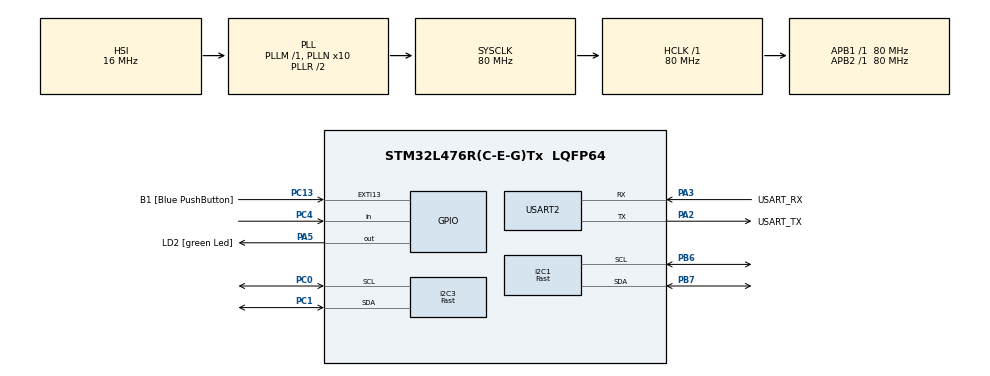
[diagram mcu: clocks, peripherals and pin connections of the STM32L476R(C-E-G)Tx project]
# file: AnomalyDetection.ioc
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EdgeImpulse.fan.1.0.3.MachineLearningCcfanJjCore=true
I2C1.I2C_Speed_Mode=I2C_Fast
I2C1.Timing=0x00702991
I2C3.I2C_Speed_Mode=I2C_Fast
I2C3.Timing=0x00702991
Mcu.Family=STM32L4
Mcu.Name=STM32L476R(C-E-G)Tx
Mcu.Package=LQFP64
NVIC.EXTI15_10_IRQn=true\:0\:0\:false\:false\:true\:true\:true\:true
NVIC.PriorityGroup=NVIC_PRIORITYGROUP_4
PA13\ (JTMS-SWDIO).GPIO_Label=TMS
PA13\ (JTMS-SWDIO).Mode=Serial_Wire
PA13\ (JTMS-SWDIO).Signal=SYS_JTMS-SWDIO
PA14\ (JTCK-SWCLK).GPIO_Label=TCK
PA14\ (JTCK-SWCLK).Mode=Serial_Wire
PA14\ (JTCK-SWCLK).Signal=SYS_JTCK-SWCLK
PA2.GPIO_Label=USART_TX
PA2.GPIO_Mode=GPIO_MODE_AF_PP
PA2.GPIO_PuPd=GPIO_NOPULL
PA2.GPIO_Speed=GPIO_SPEED_FREQ_VERY_HIGH
PA2.Mode=Asynchronous
PA2.Signal=USART2_TX
PA3.GPIO_Label=USART_RX
PA3.GPIO_Mode=GPIO_MODE_AF_PP
PA3.GPIO_PuPd=GPIO_NOPULL
PA3.GPIO_Speed=GPIO_SPEED_FREQ_VERY_HIGH
PA3.Mode=Asynchronous
PA3.Signal=USART2_RX
PA5.GPIO_Label=LD2 [green Led]
PA5.GPIO_ModeDefaultOutputPP=GPIO_MODE_OUTPUT_PP
PA5.GPIO_PuPd=GPIO_NOPULL
PA5.GPIO_Speed=GPIO_SPEED_FREQ_LOW
PA5.Signal=GPIO_Output
PB3\ (JTDO-TRACESWO).GPIO_Label=SWO
PB3\ (JTDO-TRACESWO).Signal=SYS_JTDO-SWO
PB6.Mode=I2C
PB6.Signal=I2C1_SCL
PB7.Mode=I2C
PB7.Signal=I2C1_SDA
PC0.Mode=I2C
PC0.Signal=I2C3_SCL
PC1.Mode=I2C
PC1.Signal=I2C3_SDA
PC13.GPIO_Label=B1 [Blue PushButton]
PC13.GPIO_ModeDefaultEXTI=GPIO_MODE_IT_FALLING
PC13.GPIO_PuPd=GPIO_NOPULL
PC13.Signal=GPXTI13
PC14-OSC32_IN\ (PC14).Mode=LSE-External-Oscillator
PC14-OSC32_IN\ (PC14).Signal=RCC_OSC32_IN
PC15-OSC32_OUT\ (PC15).Mode=LSE-External-Oscillator
PC15-OSC32_OUT\ (PC15).Signal=RCC_OSC32_OUT
PC4.GPIO_PuPd=GPIO_PULLUP
PC4.Signal=GPIO_Input
PH0-OSC_IN\ (PH0).Signal=RCC_OSC_IN
PH1-OSC_OUT\ (PH1).Signal=RCC_OSC_OUT
ProjectManager.HeapSize=0x200
ProjectManager.StackSize=0x400
ProjectManager.TargetToolchain=STM32CubeIDE
RCC.ADCFreq_Value=64000000
RCC.AHBFreq_Value=80000000
RCC.APB1Freq_Value=80000000
RCC.APB1TimFreq_Value=80000000
RCC.APB2Freq_Value=80000000
RCC.APB2TimFreq_Value=80000000
RCC.CortexFreq_Value=80000000
RCC.HCLKFreq_Value=80000000
RCC.HSE_VALUE=8000000
RCC.HSI_VALUE=16000000
RCC.MSI_VALUE=4000000
RCC.PLLN=10
RCC.PLLSourceVirtual=RCC_PLLSOURCE_HSI
RCC.PREFETCH_ENABLE=1
RCC.SYSCLKFreq_VALUE=80000000
RCC.SYSCLKSource=RCC_SYSCLKSOURCE_PLLCLK
RCC.USBFreq_Value=64000000
RCC.VCOOutputFreq_Value=160000000
USART2.VirtualMode-Asynchronous=VM_ASYNC
VP_CRC_VS_CRC.Mode=CRC_Activate
VP_EdgeImpulse.fan_VS_fanJjMachineLearning_1.0.3_1.0.3.Mode=fanJjMachineLearning
board=NUCLEO-L476RG

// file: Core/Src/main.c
/* USER CODE BEGIN Header */
/**
  ******************************************************************************
  * @file           : main.c
  * @brief          : Main program body
  ******************************************************************************
  * @attention
  *
  * Copyright (c) 2022 STMicroelectronics.
  * All rights reserved.
  *
  * This software is licensed under terms that can be found in the LICENSE file
  * in the root directory of this software component.
  * If no LICENSE file comes with this software, it is provided AS-IS.
  *
  ******************************************************************************
  */
/* USER CODE END Header */
#include "main.h"

/* USER CODE BEGIN Includes */
#include "mpu6050.h"
#include "stdio.h"
#include "NanoEdgeAI.h"
/* USER CODE END Includes */

/* USER CODE BEGIN PD */
#define BUFFER_SIZE 		256
#define NB_AXES 			3
#define NB_SAMPLES 			BUFFER_SIZE
#define TRUE 				0xFF
#define FALSE 				0x00
#define LEARNING_ITERATIONS 20
#define SAMPLING_PERIOD 	1 		// 1ms
/* USER CODE END PD */

CRC_HandleTypeDef hcrc;

I2C_HandleTypeDef hi2c1;
I2C_HandleTypeDef hi2c3;

UART_HandleTypeDef huart2;

/* USER CODE BEGIN PV */
MPU6050_t MPU6050;
GPIO_PinState ps;
/* USER CODE END PV */

void SystemClock_Config(void);
static void MX_GPIO_Init(void);
static void MX_USART2_UART_Init(void);
static void MX_I2C3_Init(void);
static void MX_I2C1_Init(void);
static void MX_CRC_Init(void);
/* USER CODE BEGIN PFP */
static void datalogger(void);
static void inference(void);
void fill_acc_buffer(float * input_buffer);
/* USER CODE END PFP */

int main(void)
{

  /* MCU Configuration--------------------------------------------------------*/

  /* Reset of all peripherals, Initializes the Flash interface and the Systick. */
  HAL_Init();

  /* Configure the system clock */
  SystemClock_Config();

  /* Initialize all configured peripherals */
  MX_GPIO_Init();
  MX_USART2_UART_Init();
  MX_I2C3_Init();
  MX_I2C1_Init();
  MX_CRC_Init();
  /* USER CODE BEGIN 2 */
  MPU6050_Init(&hi2c1);
  /* USER CODE END 2 */

  /* Infinite loop */
  /* USER CODE BEGIN WHILE */
  char uart_buf[100];
  int uart_buf_len;

  while (1)
  {
    /* USER CODE END WHILE */

    /* USER CODE BEGIN 3 */

	// Data logger application ----------------------------------------

	uart_buf_len = sprintf(uart_buf,"DATA LOGGER APPLICATION\n\r");
	HAL_UART_Transmit(&huart2,(uint8_t *)uart_buf, uart_buf_len, 100);
	while(1){
		ps = HAL_GPIO_ReadPin(B1_GPIO_Port, B1_Pin);
		if (ps == GPIO_PIN_RESET) {
			datalogger();
		}
	}

	//-----------------------------------------------------------------

	// Inference application ------------------------------------------
	/*
	uart_buf_len = sprintf(uart_buf,"INFERENCE APPLICATION\n\r");
	HAL_UART_Transmit(&huart2,(uint8_t *)uart_buf, uart_buf_len, 100);
	inference();
	*/
	//-----------------------------------------------------------------

  }
  /* USER CODE END 3 */
}

void SystemClock_Config(void)
{
  RCC_OscInitTypeDef RCC_OscInitStruct = {0};
  RCC_ClkInitTypeDef RCC_ClkInitStruct = {0};

  /** Configure the main internal regulator output voltage
  */
  if (HAL_PWREx_ControlVoltageScaling(PWR_REGULATOR_VOLTAGE_SCALE1) != HAL_OK)
  {
    Error_Handler();
  }

  /** Initializes the RCC Oscillators according to the specified parameters
  * in the RCC_OscInitTypeDef structure.
  */
  RCC_OscInitStruct.OscillatorType = RCC_OSCILLATORTYPE_HSI;
  RCC_OscInitStruct.HSIState = RCC_HSI_ON;
  RCC_OscInitStruct.HSICalibrationValue = RCC_HSICALIBRATION_DEFAULT;
  RCC_OscInitStruct.PLL.PLLState = RCC_PLL_ON;
  RCC_OscInitStruct.PLL.PLLSource = RCC_PLLSOURCE_HSI;
  RCC_OscInitStruct.PLL.PLLM = 1;
  RCC_OscInitStruct.PLL.PLLN = 10;
  RCC_OscInitStruct.PLL.PLLP = RCC_PLLP_DIV7;
  RCC_OscInitStruct.PLL.PLLQ = RCC_PLLQ_DIV2;
  RCC_OscInitStruct.PLL.PLLR = RCC_PLLR_DIV2;
  if (HAL_RCC_OscConfig(&RCC_OscInitStruct) != HAL_OK)
  {
    Error_Handler();
  }

  /** Initializes the CPU, AHB and APB buses clocks
  */
  RCC_ClkInitStruct.ClockType = RCC_CLOCKTYPE_HCLK|RCC_CLOCKTYPE_SYSCLK
                              |RCC_CLOCKTYPE_PCLK1|RCC_CLOCKTYPE_PCLK2;
  RCC_ClkInitStruct.SYSCLKSource = RCC_SYSCLKSOURCE_PLLCLK;
  RCC_ClkInitStruct.AHBCLKDivider = RCC_SYSCLK_DIV1;
  RCC_ClkInitStruct.APB1CLKDivider = RCC_HCLK_DIV1;
  RCC_ClkInitStruct.APB2CLKDivider = RCC_HCLK_DIV1;

  if (HAL_RCC_ClockConfig(&RCC_ClkInitStruct, FLASH_LATENCY_4) != HAL_OK)
  {
    Error_Handler();
  }
}

static void MX_CRC_Init(void)
{

  hcrc.Instance = CRC;
  hcrc.Init.DefaultPolynomialUse = DEFAULT_POLYNOMIAL_ENABLE;
  hcrc.Init.DefaultInitValueUse = DEFAULT_INIT_VALUE_ENABLE;
  hcrc.Init.InputDataInversionMode = CRC_INPUTDATA_INVERSION_NONE;
  hcrc.Init.OutputDataInversionMode = CRC_OUTPUTDATA_INVERSION_DISABLE;
  hcrc.InputDataFormat = CRC_INPUTDATA_FORMAT_BYTES;
  if (HAL_CRC_Init(&hcrc) != HAL_OK)
  {
    Error_Handler();
  }

}

static void MX_I2C1_Init(void)
{

  hi2c1.Instance = I2C1;
  hi2c1.Init.Timing = 0x00702991;
  hi2c1.Init.OwnAddress1 = 0;
  hi2c1.Init.AddressingMode = I2C_ADDRESSINGMODE_7BIT;
  hi2c1.Init.DualAddressMode = I2C_DUALADDRESS_DISABLE;
  hi2c1.Init.OwnAddress2 = 0;
  hi2c1.Init.OwnAddress2Masks = I2C_OA2_NOMASK;
  hi2c1.Init.GeneralCallMode = I2C_GENERALCALL_DISABLE;
  hi2c1.Init.NoStretchMode = I2C_NOSTRETCH_DISABLE;
  if (HAL_I2C_Init(&hi2c1) != HAL_OK)
  {
    Error_Handler();
  }

  /** Configure Analogue filter
  */
  if (HAL_I2CEx_ConfigAnalogFilter(&hi2c1, I2C_ANALOGFILTER_ENABLE) != HAL_OK)
  {
    Error_Handler();
  }

  /** Configure Digital filter
  */
  if (HAL_I2CEx_ConfigDigitalFilter(&hi2c1, 0) != HAL_OK)
  {
    Error_Handler();
  }

}

static void MX_I2C3_Init(void)
{

  hi2c3.Instance = I2C3;
  hi2c3.Init.Timing = 0x00702991;
  hi2c3.Init.OwnAddress1 = 0;
  hi2c3.Init.AddressingMode = I2C_ADDRESSINGMODE_7BIT;
  hi2c3.Init.DualAddressMode = I2C_DUALADDRESS_DISABLE;
  hi2c3.Init.OwnAddress2 = 0;
  hi2c3.Init.OwnAddress2Masks = I2C_OA2_NOMASK;
  hi2c3.Init.GeneralCallMode = I2C_GENERALCALL_DISABLE;
  hi2c3.Init.NoStretchMode = I2C_NOSTRETCH_DISABLE;
  if (HAL_I2C_Init(&hi2c3) != HAL_OK)
  {
    Error_Handler();
  }

  /** Configure Analogue filter
  */
  if (HAL_I2CEx_ConfigAnalogFilter(&hi2c3, I2C_ANALOGFILTER_ENABLE) != HAL_OK)
  {
    Error_Handler();
  }

  /** Configure Digital filter
  */
  if (HAL_I2CEx_ConfigDigitalFilter(&hi2c3, 0) != HAL_OK)
  {
    Error_Handler();
  }

}

static void MX_USART2_UART_Init(void)
{

  huart2.Instance = USART2;
  huart2.Init.BaudRate = 115200;
  huart2.Init.WordLength = UART_WORDLENGTH_8B;
  huart2.Init.StopBits = UART_STOPBITS_1;
  huart2.Init.Parity = UART_PARITY_NONE;
  huart2.Init.Mode = UART_MODE_TX_RX;
  huart2.Init.HwFlowCtl = UART_HWCONTROL_NONE;
  huart2.Init.OverSampling = UART_OVERSAMPLING_16;
  huart2.Init.OneBitSampling = UART_ONE_BIT_SAMPLE_DISABLE;
  huart2.AdvancedInit.AdvFeatureInit = UART_ADVFEATURE_NO_INIT;
  if (HAL_UART_Init(&huart2) != HAL_OK)
  {
    Error_Handler();
  }

}

static void MX_GPIO_Init(void)
{
  GPIO_InitTypeDef GPIO_InitStruct = {0};

  /* GPIO Ports Clock Enable */
  __HAL_RCC_GPIOC_CLK_ENABLE();
  __HAL_RCC_GPIOH_CLK_ENABLE();
  __HAL_RCC_GPIOA_CLK_ENABLE();
  __HAL_RCC_GPIOB_CLK_ENABLE();

  /*Configure GPIO pin Output Level */
  HAL_GPIO_WritePin(LD2_GPIO_Port, LD2_Pin, GPIO_PIN_RESET);

  /*Configure GPIO pin : B1_Pin */
  GPIO_InitStruct.Pin = B1_Pin;
  GPIO_InitStruct.Mode = GPIO_MODE_IT_FALLING;
  GPIO_InitStruct.Pull = GPIO_NOPULL;
  HAL_GPIO_Init(B1_GPIO_Port, &GPIO_InitStruct);

  /*Configure GPIO pin : LD2_Pin */
  GPIO_InitStruct.Pin = LD2_Pin;
  GPIO_InitStruct.Mode = GPIO_MODE_OUTPUT_PP;
  GPIO_InitStruct.Pull = GPIO_NOPULL;
  GPIO_InitStruct.Speed = GPIO_SPEED_FREQ_LOW;
  HAL_GPIO_Init(LD2_GPIO_Port, &GPIO_InitStruct);

  /*Configure GPIO pin : PC4 */
  GPIO_InitStruct.Pin = GPIO_PIN_4;
  GPIO_InitStruct.Mode = GPIO_MODE_INPUT;
  GPIO_InitStruct.Pull = GPIO_PULLUP;
  HAL_GPIO_Init(GPIOC, &GPIO_InitStruct);

  /* EXTI interrupt init*/
  HAL_NVIC_SetPriority(EXTI15_10_IRQn, 0, 0);
  HAL_NVIC_EnableIRQ(EXTI15_10_IRQn);

}

/* USER CODE BEGIN 4 */
/**
  * @brief Accelerometer Data Logger for NanoSrudio
  * @param None
  * @retval None
  * @note	I am using a 3-axis accelerometer. I want to monitor a piece of equipment that vibrates, to detect potential anomalies.
  * 		I will collect a total of 100 learning examples to represent the vibration behavior of my equipment.
  * 		I estimate the highest-frequency component of this vibration to be below 500 Hz,
  * 		therefore I choose a sampling frequency of 1000 Hz for my sensor.
  * 		I decide that my learning examples for this vibration should represent about 1/4 of a second (250 ms).
  * 		To achieve this, I choose a buffer size of 256 samples.
  * 		This means my 256 samples will represent a signal of 256/1000 = 0.256 s.
  *
  */
static void datalogger(void){

	double acc_buffer[NB_AXES * NB_SAMPLES] = {0};
	char uart_buf[100];
	int uart_buf_len;
	while (1){

		for (uint16_t i = 0; i < NB_SAMPLES; i++) {
			MPU6050_Read_Accel(&hi2c1, &MPU6050);
			acc_buffer[NB_AXES * i] = MPU6050.Ax;
			acc_buffer[(NB_AXES * i) + 1] = MPU6050.Ay;
			acc_buffer[(NB_AXES * i) + 2] = MPU6050.Az;
			// 1000 Hz - sampling period
			HAL_Delay(SAMPLING_PERIOD);
		}

		// print accelerometer buffer, only for data logging
		for (uint16_t isample = 0; isample < NB_AXES * NB_SAMPLES - 1; isample++){
			uart_buf_len = sprintf(uart_buf,"%.4f ", acc_buffer[isample]);
			HAL_UART_Transmit(&huart2,(uint8_t *)uart_buf, uart_buf_len, 50);
		}
		uart_buf_len = sprintf(uart_buf,"%.4f\n", acc_buffer[NB_AXES * NB_SAMPLES]);
		HAL_UART_Transmit(&huart2,(uint8_t *)uart_buf, uart_buf_len, 50);
	}
}

/**
  * @brief  Inference application.
  * @param  None
  * @retval None
  */
static void inference(void) {
	char uart_buf[100];
	int uart_buf_len;
	float input_user_buffer[NB_AXES * BUFFER_SIZE];
	uint8_t similarity = 0;
	/* Initialization ------------------------------------------------------------*/
	enum neai_state error_code = neai_anomalydetection_init();
	if (error_code != NEAI_OK) {
		/* This happens if the library works into a not supported board. */
		Error_Handler();
	}
	/* ---------------------------------------------------------------------------*/
	/* Learning process ----------------------------------------------------------*/
	uart_buf_len = sprintf(uart_buf,"Starting Learning\n\r");
	HAL_UART_Transmit(&huart2,(uint8_t *)uart_buf, uart_buf_len, 100);
	for (uint16_t iteration = 0 ; iteration < LEARNING_ITERATIONS ; iteration++) {
		uart_buf_len = sprintf(uart_buf,"Learning iteration: %i\n\r",iteration);
		HAL_UART_Transmit(&huart2,(uint8_t *)uart_buf, uart_buf_len, 100);

		fill_acc_buffer(input_user_buffer);
		neai_anomalydetection_learn(input_user_buffer);

	}
	uart_buf_len = sprintf(uart_buf,"Learning complete\n\r");
	HAL_UART_Transmit(&huart2,(uint8_t *)uart_buf, uart_buf_len, 100);
	/* ---------------------------------------------------------------------------*/
	/* Detection process ---------------------------------------------------------*/
	while (1) {
		fill_acc_buffer(input_user_buffer);
		neai_anomalydetection_detect((float *)input_user_buffer, &similarity);

		if (similarity >= 90){
			uart_buf_len = sprintf(uart_buf,"NOMINAL %i/100 \n\r",similarity);
			HAL_UART_Transmit(&huart2,(uint8_t *)uart_buf, uart_buf_len, 100);
		} else {
			uart_buf_len = sprintf(uart_buf,"ANOMALY DETECTED %i/100 \n\r",similarity);
			HAL_UART_Transmit(&huart2,(uint8_t *)uart_buf, uart_buf_len, 100);
		}
	}
	/* ---------------------------------------------------------------------------*/
}

void fill_acc_buffer(float * input_buffer) {
	for (uint16_t i = 0; i < BUFFER_SIZE; i++) {
		MPU6050_Read_Accel(&hi2c1, &MPU6050);
		input_buffer[NB_AXES * i] = (float)MPU6050.Ax;
		input_buffer[(NB_AXES * i) + 1] = (float)MPU6050.Ay;
		input_buffer[(NB_AXES * i) + 2] = (float)MPU6050.Az;
		// 1000 Hz - sampling period
		HAL_Delay(SAMPLING_PERIOD);
	}
}

/* USER CODE END 4 */

void Error_Handler(void)
{
  /* USER CODE BEGIN Error_Handler_Debug */
	char uart_buf[100];
	int uart_buf_len;
	uart_buf_len = sprintf(uart_buf,"\r\nERROR\r\n");
	HAL_UART_Transmit(&huart2,(uint8_t *)uart_buf, uart_buf_len, 50);
  /* User can add his own implementation to report the HAL error return state */
  __disable_irq();
  while (1)
  {

  }
  /* USER CODE END Error_Handler_Debug */
}
